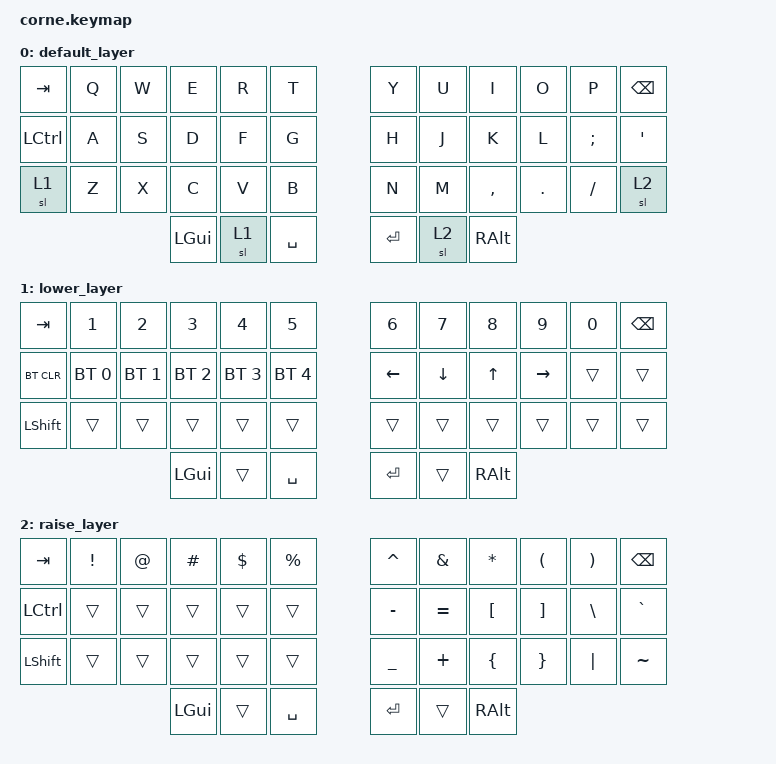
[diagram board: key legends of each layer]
/*
 * Copyright (c) 2020 The ZMK Contributors
 *
 * SPDX-License-Identifier: MIT
 */

#include <behaviors.dtsi>
#include <dt-bindings/zmk/bt.h>
#include <dt-bindings/zmk/keys.h>

/ {
    combos {
        compatible = "zmk,combos";

        Backspace {
            bindings = <&kp BACKSPACE>;
            key-positions = <8 9>;
        };

        Return {
            bindings = <&kp RET>;
            key-positions = <20 21>;
        };

        Tab {
            bindings = <&kp TAB>;
            key-positions = <1 2>;
        };

        L_Shift {
            bindings = <&kp LEFT_SHIFT>;
            key-positions = <13 14>;
        };

        R_Shift {
            bindings = <&kp RIGHT_SHIFT>;
            key-positions = <21 22>;
        };
    };

    behaviors {
        D_hld_C: D_hld_C {
            compatible = "zmk,behavior-hold-tap";
            label = "D_HLD_C";
            bindings = <&kp>, <&kp>;

            #binding-cells = <2>;
            tapping-term-ms = <200>;
            flavor = "balanced";
        };

        F_hld_V: F_hld_V {
            compatible = "zmk,behavior-hold-tap";
            label = "F_HLD_V";
            bindings = <&kp>, <&kp>;

            #binding-cells = <2>;
            tapping-term-ms = <200>;
            flavor = "balanced";
        };

        G_hld_B: G_hld_B {
            compatible = "zmk,behavior-hold-tap";
            label = "G_HLD_B";
            bindings = <&kp>, <&kp>;

            #binding-cells = <2>;
            tapping-term-ms = <200>;
            flavor = "balanced";
        };

        J_hld_N: J_hld_N {
            compatible = "zmk,behavior-hold-tap";
            label = "J_HLD_N";
            bindings = <&kp>, <&kp>;

            #binding-cells = <2>;
            tapping-term-ms = <200>;
            flavor = "balanced";
        };

        K_hld_M: K_hld_M {
            compatible = "zmk,behavior-hold-tap";
            label = "K_HLD_M";
            bindings = <&kp>, <&kp>;

            #binding-cells = <2>;
            tapping-term-ms = <200>;
            flavor = "balanced";
        };

        S_hld_X: S_hld_X {
            compatible = "zmk,behavior-hold-tap";
            label = "S_HLD_X";
            bindings = <&kp>, <&kp>;

            #binding-cells = <2>;
            tapping-term-ms = <200>;
            flavor = "balanced";
        };

        A_hld_Z: A_hld_Z {
            compatible = "zmk,behavior-hold-tap";
            label = "A_HLD_Z";
            bindings = <&kp>, <&kp>;

            #binding-cells = <2>;
            tapping-term-ms = <200>;
            flavor = "balanced";
        };

        O_hld_P: O_hld_P {
            compatible = "zmk,behavior-hold-tap";
            label = "O_HLD_P";
            bindings = <&kp>, <&kp>;

            #binding-cells = <2>;
            tapping-term-ms = <200>;
            flavor = "balanced";
        };
    };

    keymap {
        compatible = "zmk,keymap";

        default_layer {
            // -----------------------------------------------------------------------------------------
            // |  TAB |  Q  |  W  |  E  |  R  |  T  |   |  Y  |  U   |  I  |  O  |  P  | BKSP |
            // | CTRL |  A  |  S  |  D  |  F  |  G  |   |  H  |  J   |  K  |  L  |  ;  |  '   |
            // | SHFT |  Z  |  X  |  C  |  V  |  B  |   |  N  |  M   |  ,  |  .  |  /  | ESC  |
            //                    | GUI | LWR | SPC |   | ENT | RSE  | ALT |

            bindings = <
&kp TAB    &kp Q  &kp W  &kp E     &kp R  &kp T        &kp Y    &kp U  &kp I      &kp O    &kp P     &kp BSPC
&kp LCTRL  &kp A  &kp S  &kp D     &kp F  &kp G        &kp H    &kp J  &kp K      &kp L    &kp SEMI  &kp SQT
&sl 1      &kp Z  &kp X  &kp C     &kp V  &kp B        &kp N    &kp M  &kp COMMA  &kp DOT  &kp FSLH  &sl 2
                         &kp LGUI  &sl 1  &kp SPACE    &kp RET  &sl 2  &kp RALT
            >;
        };

        lower_layer {
            // -----------------------------------------------------------------------------------------
            // |  TAB |  1  |  2  |  3  |  4  |  5  |   |  6  |  7  |  8  |  9  |  0  | BKSP |
            // | BTCLR| BT1 | BT2 | BT3 | BT4 | BT5 |   | LFT | DWN |  UP | RGT |     |      |
            // | SHFT |     |     |     |     |     |   |     |     |     |     |     |      |
            //                    | GUI |     | SPC |   | ENT |     | ALT |

            bindings = <
&kp TAB     &kp N1        &kp N2        &kp N3        &kp N4        &kp N5          &kp N6    &kp N7    &kp N8    &kp N9     &kp N0  &kp BSPC
&bt BT_CLR  &bt BT_SEL 0  &bt BT_SEL 1  &bt BT_SEL 2  &bt BT_SEL 3  &bt BT_SEL 4    &kp LEFT  &kp DOWN  &kp UP    &kp RIGHT  &trans  &trans
&kp LSHFT   &trans        &trans        &trans        &trans        &trans          &trans    &trans    &trans    &trans     &trans  &trans
                                        &kp LGUI      &trans        &kp SPACE       &kp RET   &trans    &kp RALT
            >;
        };

        raise_layer {
            // -----------------------------------------------------------------------------------------
            // |  TAB |  !  |  @  |  #  |  $  |  %  |   |  ^  |  &  |  *  |  (  |  )  | BKSP |
            // | CTRL |     |     |     |     |     |   |  -  |  =  |  [  |  ]  |  \  |  `   |
            // | SHFT |     |     |     |     |     |   |  _  |  +  |  {  |  }  | "|" |  ~   |
            //                    | GUI |     | SPC |   | ENT |     | ALT |

            bindings = <
&kp TAB    &kp EXCL  &kp AT  &kp HASH  &kp DLLR  &kp PRCNT    &kp CARET  &kp AMPS   &kp ASTRK  &kp LPAR  &kp RPAR  &kp BSPC
&kp LCTRL  &trans    &trans  &trans    &trans    &trans       &kp MINUS  &kp EQUAL  &kp LBKT   &kp RBKT  &kp BSLH  &kp GRAVE
&kp LSHFT  &trans    &trans  &trans    &trans    &trans       &kp UNDER  &kp PLUS   &kp LBRC   &kp RBRC  &kp PIPE  &kp TILDE
                             &kp LGUI  &trans    &kp SPACE    &kp RET    &trans     &kp RALT
            >;
        };
    };
};
